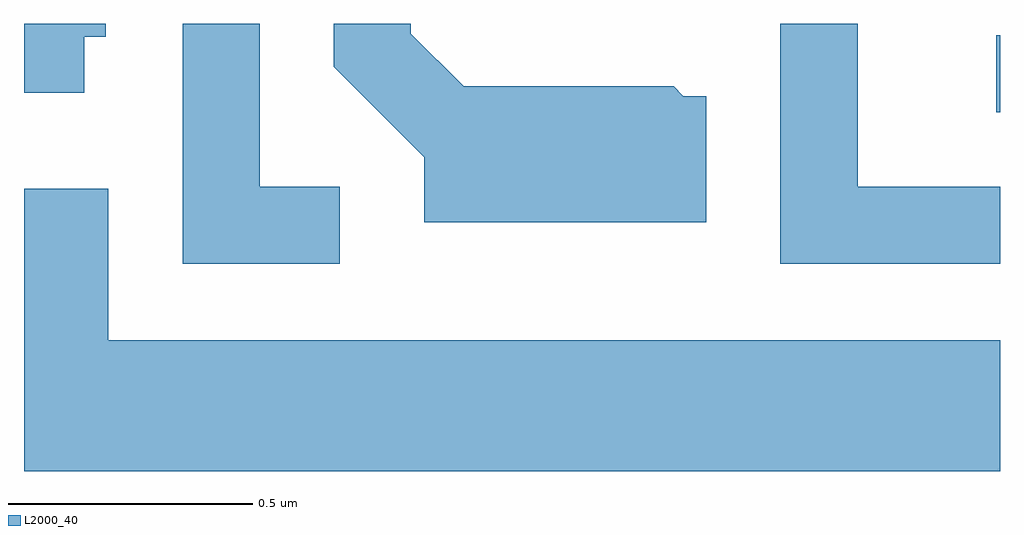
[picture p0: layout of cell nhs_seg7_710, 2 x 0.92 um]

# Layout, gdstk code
import gdstk
lib = gdstk.Library(unit=1e-6, precision=1e-09)
def R(c, l, rs):  # rectangles x0, y0, x1, y1
    for r in rs: c.add(gdstk.rectangle(r[:2], r[2:], *l))
def P(c, l, *ps):  # polygons
    for p in ps: c.add(gdstk.Polygon(p, *l))
L2000_40 = (2000, 40)

nhs_seg7_710 = lib.new_cell('nhs_seg7_710')
R(nhs_seg7_710, L2000_40, [(192.603,1695.071,192.611,1695.229)])
P(nhs_seg7_710, L2000_40, [(191.258,1694.919),(191.094,1694.919),(191.094,1695.252),(190.936,1695.252),(190.936,1694.761),(191.258,1694.761)],
  [(192.009,1695.104),(191.962,1695.104),(191.942,1695.124),(191.512,1695.124),(191.404,1695.232),(191.404,1695.252),(191.246,1695.252),(191.246,1695.164),(191.431,1694.979),(191.431,1694.846),(192.009,1694.846)],
  [(190.734,1695.226),(190.779,1695.226),(190.779,1695.252),(190.611,1695.252),(190.611,1695.111),(190.734,1695.111)],
  [(192.611,1694.919),(192.319,1694.919),(192.319,1695.252),(192.161,1695.252),(192.161,1694.761),(192.611,1694.761)],
  [(192.611,1694.604),(190.784,1694.604),(190.784,1694.914),(190.611,1694.914),(190.611,1694.336),(192.611,1694.336)])

lib.write_gds('nhs_seg7_710.gds')
